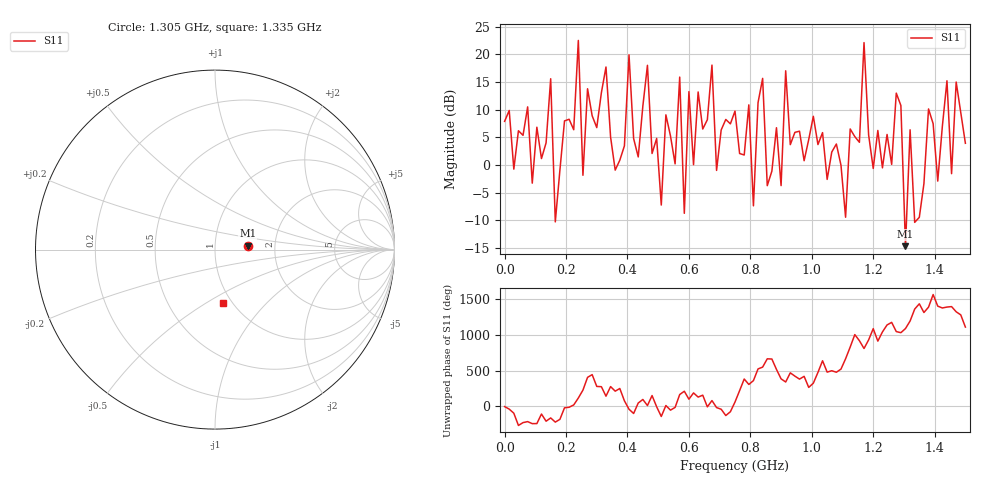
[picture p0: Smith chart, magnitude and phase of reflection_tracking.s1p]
! Created with skrf 1.8.0 (http://scikit-rf.org).
# Hz S RI R 50.0
!freq ReS11 ImS11
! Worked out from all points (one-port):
!   101 points, 50 kHz to 1.5 GHz, reference 50 ohm
!   lowest |S11| = -14.7 dB at 1.305 GHz (marker M1), VSWR 1.45, Z = 72.3 + j3.27 ohm
!   |S11| at or under -10 dB: 164.8636 MHz to 165.5455 MHz (681.8 kHz wide, 0.413 % of centre); 1.302232 GHz to 1.30836 GHz (6.128 MHz wide, 0.469 % of centre); 1.335 GHz to 1.342 GHz (6.917 MHz wide, 0.517 % of centre)
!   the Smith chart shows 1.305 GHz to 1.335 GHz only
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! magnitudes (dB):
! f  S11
! 50 kHz  7.9
! 90.05 MHz  -3.3
! 150 MHz  15.6
! 165 MHz  -10.3
! 195 MHz  8.0
! 240 MHz  22.5
! 255 MHz  -1.9
! 330 MHz  17.7
! 375 MHz  0.8
! 465 MHz  18.0
! 510 MHz  -7.3
! 570 MHz  15.9
! 585 MHz  -8.8
! 600 MHz  13.2
! 750 MHz  9.7
! 810 MHz  -7.4
! 840 MHz  15.6
! 855 MHz  -3.8
! 915 MHz  17.0
! 945 MHz  5.9
! 1.11 GHz  -9.5
! 1.125 GHz  6.5
! 1.275 GHz  13.0
! 1.305 GHz  -14.7
! 1.32 GHz  6.3
! 1.335 GHz  -10.4
! 1.38 GHz  10.1
! 1.5 GHz  3.9
